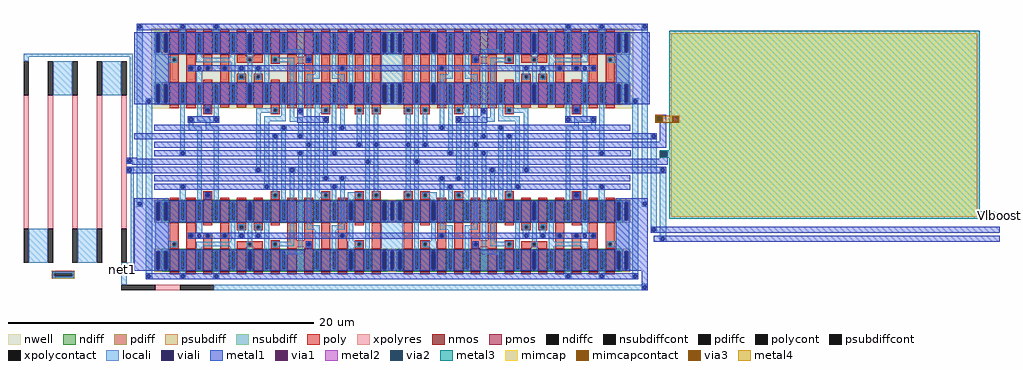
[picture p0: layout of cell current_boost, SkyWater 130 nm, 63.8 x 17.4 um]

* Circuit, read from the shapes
.subckt current_boost Vlboost Vsense
XM1 vdd gnd gnd gnd sky130_fd_pr__nfet_01v8 w=1.5 l=0.6 m=2
XM2 opamp_0/net7 gnd gnd gnd sky130_fd_pr__nfet_01v8 w=1.5 l=0.6 m=2
XM3 opamp_0/net1 opamp_0/net9 vdd gnd sky130_fd_pr__nfet_01v8 w=1.5 l=0.6 m=3
XM4 opamp_0/net9 opamp_0/net9 opamp_0/net7 gnd sky130_fd_pr__nfet_01v8 w=1.5 l=0.6 m=2
XM5 opamp_0/net10 gnd opamp_0/net9 gnd sky130_fd_pr__nfet_01v8 w=1.5 l=0.6 m=2
XM6 opamp_0/net1 opamp_0/net9 opamp_0/net10 gnd sky130_fd_pr__nfet_01v8 w=1.5 l=0.6
XM7 gnd gnd opamp_0/net1 gnd sky130_fd_pr__nfet_01v8 w=1.5 l=0.6
XM8 gnd opamp_0/net9 opamp_0/net1 gnd sky130_fd_pr__nfet_01v8 w=1.5 l=0.6
XM9 opamp_0/net8 gnd gnd gnd sky130_fd_pr__nfet_01v8 w=1.5 l=0.6
XM10 opamp_0/net8 opamp_0/net9 gnd gnd sky130_fd_pr__nfet_01v8 w=1.5 l=0.6
XM11 opamp_0/net4 net1 opamp_0/net8 gnd sky130_fd_pr__nfet_01v8 w=1.5 l=0.6
XM12 opamp_0/net3 Vsense opamp_0/net8 gnd sky130_fd_pr__nfet_01v8 w=1.5 l=0.6
XM13 opamp_0/net16 gnd opamp_0/net4 gnd sky130_fd_pr__nfet_01v8 w=1.5 l=0.6
XM14 opamp_0/net15 gnd opamp_0/net3 gnd sky130_fd_pr__nfet_01v8 w=1.5 l=0.6
XM15 opamp_0/net2 gnd opamp_0/net16 gnd sky130_fd_pr__nfet_01v8 w=1.5 l=0.6
XM16 opamp_0/net5 gnd opamp_0/net15 gnd sky130_fd_pr__nfet_01v8 w=1.5 l=0.6
XM17 opamp_0/net6 opamp_0/net5 opamp_0/net2 gnd sky130_fd_pr__nfet_01v8 w=1.5 l=0.6
XM18 opamp_0/net7 opamp_0/net5 opamp_0/net5 gnd sky130_fd_pr__nfet_01v8 w=1.5 l=0.6
XM19 gnd opamp_0/net9 opamp_0/net6 gnd sky130_fd_pr__nfet_01v8 w=1.5 l=0.6 m=2
XM20 gnd opamp_0/net9 opamp_0/net7 gnd sky130_fd_pr__nfet_01v8 w=1.5 l=0.6 m=2
XM21 Vlboost gnd gnd gnd sky130_fd_pr__nfet_01v8 w=1.5 l=0.6 m=4
XM22 gnd opamp_0/net2 Vlboost gnd sky130_fd_pr__nfet_01v8 w=1.5 l=0.6 m=4
XM23 opamp_0/net2 n1 opamp_0/net6 gnd sky130_fd_pr__nfet_01v8 w=1.5 l=0.6
XM24 n1 n1 opamp_0/net7 gnd sky130_fd_pr__nfet_01v8 w=1.5 l=0.6
XM25 n2 gnd opamp_0/net2 gnd sky130_fd_pr__nfet_01v8 w=1.5 l=0.6
XM26 n3 gnd n1 gnd sky130_fd_pr__nfet_01v8 w=1.5 l=0.6
XM27 opamp_0/net4 gnd n2 gnd sky130_fd_pr__nfet_01v8 w=1.5 l=0.6
XM28 opamp_0/net3 gnd n3 gnd sky130_fd_pr__nfet_01v8 w=1.5 l=0.6
XM29 n4 net1 opamp_0/net4 gnd sky130_fd_pr__nfet_01v8 w=1.5 l=0.6
XM30 n4 Vsense opamp_0/net3 gnd sky130_fd_pr__nfet_01v8 w=1.5 l=0.6
XM31 gnd gnd n4 gnd sky130_fd_pr__nfet_01v8 w=1.5 l=0.6
XM32 gnd opamp_0/net9 n4 gnd sky130_fd_pr__nfet_01v8 w=1.5 l=0.6
XM33 n5 gnd gnd gnd sky130_fd_pr__nfet_01v8 w=1.5 l=0.6
XM34 n5 opamp_0/net9 gnd gnd sky130_fd_pr__nfet_01v8 w=1.5 l=0.6
XM35 vdd opamp_0/net9 n5 gnd sky130_fd_pr__nfet_01v8 w=1.5 l=0.6 m=3
XM36 opamp_0/net10 opamp_0/net9 n5 gnd sky130_fd_pr__nfet_01v8 w=1.5 l=0.6
XM37 opamp_0/net4 vdd vdd vdd sky130_fd_pr__pfet_01v8 w=1.5 l=0.6 m=2
XM38 gnd vdd vdd vdd sky130_fd_pr__pfet_01v8 w=1.5 l=0.6 m=2
XM39 opamp_0/net10 opamp_0/net10 opamp_0/net4 vdd sky130_fd_pr__pfet_01v8 w=1.5 l=0.6 m=2
XM40 opamp_0/net12 opamp_0/net10 gnd vdd sky130_fd_pr__pfet_01v8 w=1.5 l=0.6 m=3
XM41 opamp_0/net9 vdd opamp_0/net10 vdd sky130_fd_pr__pfet_01v8 w=1.5 l=0.6 m=2
XM42 opamp_0/net12 opamp_0/net10 opamp_0/net9 vdd sky130_fd_pr__pfet_01v8 w=1.5 l=0.6
XM43 vdd opamp_0/net10 opamp_0/net12 vdd sky130_fd_pr__pfet_01v8 w=1.5 l=0.6
XM44 vdd vdd opamp_0/net12 vdd sky130_fd_pr__pfet_01v8 w=1.5 l=0.6
XM45 opamp_0/net11 opamp_0/net10 vdd vdd sky130_fd_pr__pfet_01v8 w=1.5 l=0.6
XM46 opamp_0/net11 vdd vdd vdd sky130_fd_pr__pfet_01v8 w=1.5 l=0.6
XM47 opamp_0/net7 net1 opamp_0/net11 vdd sky130_fd_pr__pfet_01v8 w=1.5 l=0.6
XM48 opamp_0/net6 Vsense opamp_0/net11 vdd sky130_fd_pr__pfet_01v8 w=1.5 l=0.6
XM49 opamp_0/net14 vdd opamp_0/net7 vdd sky130_fd_pr__pfet_01v8 w=1.5 l=0.6
XM50 opamp_0/net13 vdd opamp_0/net6 vdd sky130_fd_pr__pfet_01v8 w=1.5 l=0.6
XM51 opamp_0/net5 vdd opamp_0/net14 vdd sky130_fd_pr__pfet_01v8 w=1.5 l=0.6
XM52 opamp_0/net2 vdd opamp_0/net13 vdd sky130_fd_pr__pfet_01v8 w=1.5 l=0.6
XM53 opamp_0/net4 opamp_0/net5 opamp_0/net5 vdd sky130_fd_pr__pfet_01v8 w=1.5 l=0.6
XM54 opamp_0/net3 opamp_0/net5 opamp_0/net2 vdd sky130_fd_pr__pfet_01v8 w=1.5 l=0.6
XM55 vdd opamp_0/net10 opamp_0/net4 vdd sky130_fd_pr__pfet_01v8 w=1.5 l=0.6 m=2
XM56 vdd opamp_0/net10 opamp_0/net3 vdd sky130_fd_pr__pfet_01v8 w=1.5 l=0.6 m=2
XM57 Vlboost opamp_0/net2 vdd vdd sky130_fd_pr__pfet_01v8 w=1.5 l=0.6 m=8
XM58 n1 n1 opamp_0/net4 vdd sky130_fd_pr__pfet_01v8 w=1.5 l=0.6
XM59 opamp_0/net2 n1 opamp_0/net3 vdd sky130_fd_pr__pfet_01v8 w=1.5 l=0.6
XM60 n6 vdd n1 vdd sky130_fd_pr__pfet_01v8 w=1.5 l=0.6
XM61 opamp_0/net22 vdd opamp_0/net2 vdd sky130_fd_pr__pfet_01v8 w=1.5 l=0.6
XM62 opamp_0/net7 vdd n6 vdd sky130_fd_pr__pfet_01v8 w=1.5 l=0.6
XM63 opamp_0/net6 vdd opamp_0/net22 vdd sky130_fd_pr__pfet_01v8 w=1.5 l=0.6
XM64 n7 net1 opamp_0/net7 vdd sky130_fd_pr__pfet_01v8 w=1.5 l=0.6
XM65 n7 Vsense opamp_0/net6 vdd sky130_fd_pr__pfet_01v8 w=1.5 l=0.6
XM66 vdd opamp_0/net10 n7 vdd sky130_fd_pr__pfet_01v8 w=1.5 l=0.6
XM67 vdd vdd n7 vdd sky130_fd_pr__pfet_01v8 w=1.5 l=0.6
XM68 n8 opamp_0/net10 vdd vdd sky130_fd_pr__pfet_01v8 w=1.5 l=0.6
XM69 n8 vdd vdd vdd sky130_fd_pr__pfet_01v8 w=1.5 l=0.6
XM70 opamp_0/net9 opamp_0/net10 n8 vdd sky130_fd_pr__pfet_01v8 w=1.5 l=0.6
XM71 gnd opamp_0/net10 n8 vdd sky130_fd_pr__pfet_01v8 w=1.5 l=0.6 m=3
XC72 opamp_0/net2 Vlboost sky130_fd_pr__cap_mim_m3_1 w=20 l=12
XR73 Vlboost n9 gnd sky130_fd_pr__res_xhigh_po w=0.35 l=8.75
XR74 n10 n9 gnd sky130_fd_pr__res_xhigh_po w=0.35 l=8.75
XR75 n10 n11 gnd sky130_fd_pr__res_xhigh_po w=0.35 l=8.75
XR76 n12 n11 gnd sky130_fd_pr__res_xhigh_po w=0.35 l=8.75
XR77 n12 net1 gnd sky130_fd_pr__res_xhigh_po w=0.35 l=8.75
XR78 gnd net1 gnd sky130_fd_pr__res_xhigh_po w=0.35 l=1.65
.ends

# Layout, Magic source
magic
tech sky130A
<< psubdiff >>
rect -540 40 -390 55
rect -540 20 -525 40
rect -405 20 -390 40
rect -540 5 -390 20
<< psubdiffcont >>
rect -525 20 -405 40
<< locali >>
rect -725 1455 -10 1475
rect -725 1425 -690 1455
rect -30 795 -10 1455
rect -50 785 -10 795
rect -50 765 -40 785
rect -20 765 -10 785
rect -50 755 -10 765
rect -50 725 -5 735
rect -50 705 -40 725
rect -20 705 -5 725
rect -50 695 -5 705
rect -25 110 -5 695
rect -85 80 -5 110
rect -535 40 -395 50
rect -535 20 -525 40
rect -405 20 -395 40
rect -535 10 -395 20
rect -85 -35 -50 80
rect 3315 -35 3355 -30
rect 520 -40 3355 -35
rect 520 -60 3325 -40
rect 3345 -60 3355 -40
rect 520 -70 3355 -60
<< viali >>
rect -40 765 -20 785
rect -40 705 -20 725
rect 3325 -60 3345 -40
<< metal1 >>
rect -50 785 15 795
rect -50 765 -40 785
rect -20 765 15 785
rect -50 755 15 765
rect -15 750 15 755
rect -50 725 5 735
rect -50 705 -40 725
rect -20 705 5 725
rect -50 695 5 705
rect 5640 395 5655 435
rect 5640 305 5655 345
rect 3315 -40 3355 60
rect 3315 -60 3325 -40
rect 3345 -60 3355 -40
rect 3315 -70 3355 -60
use 10k_res  10k_res_0
transform 0 1 -85 -1 0 -35
box 0 0 35 605
use 250k_res  250k_res_0
transform -1 0 -50 0 1 110
box 0 0 675 1315
use opamp  opamp_0 ~/Desktop/MADVLSI_final/layout
transform 1 0 230 0 1 -30
box -230 30 5425 1700
<< labels >>
rlabel metal1 5655 415 5655 415 3 Vlboost
port 1 e
rlabel metal1 5655 325 5655 325 3 Vsense
port 2 e
rlabel locali -75 65 -75 65 3 net1
<< end >>

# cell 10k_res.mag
magic
tech sky130A
<< xpolycontact >>
rect 0 385 35 605
rect 0 0 35 220
<< xpolyres >>
rect 0 220 35 385
<< end >>

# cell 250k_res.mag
magic
tech sky130A
<< xpolycontact >>
rect 0 1095 35 1315
rect 0 0 35 220
rect 160 1095 195 1315
rect 160 0 195 220
rect 320 1095 355 1315
rect 320 0 355 220
rect 480 1095 515 1315
rect 480 0 515 220
rect 640 1095 675 1315
rect 640 0 675 220
<< xpolyres >>
rect 0 220 35 1095
rect 160 220 195 1095
rect 320 220 355 1095
rect 480 220 515 1095
rect 640 220 675 1095
<< locali >>
rect 35 1095 160 1315
rect 355 1095 480 1315
rect 195 0 320 220
rect 515 0 640 220
<< end >>

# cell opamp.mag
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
